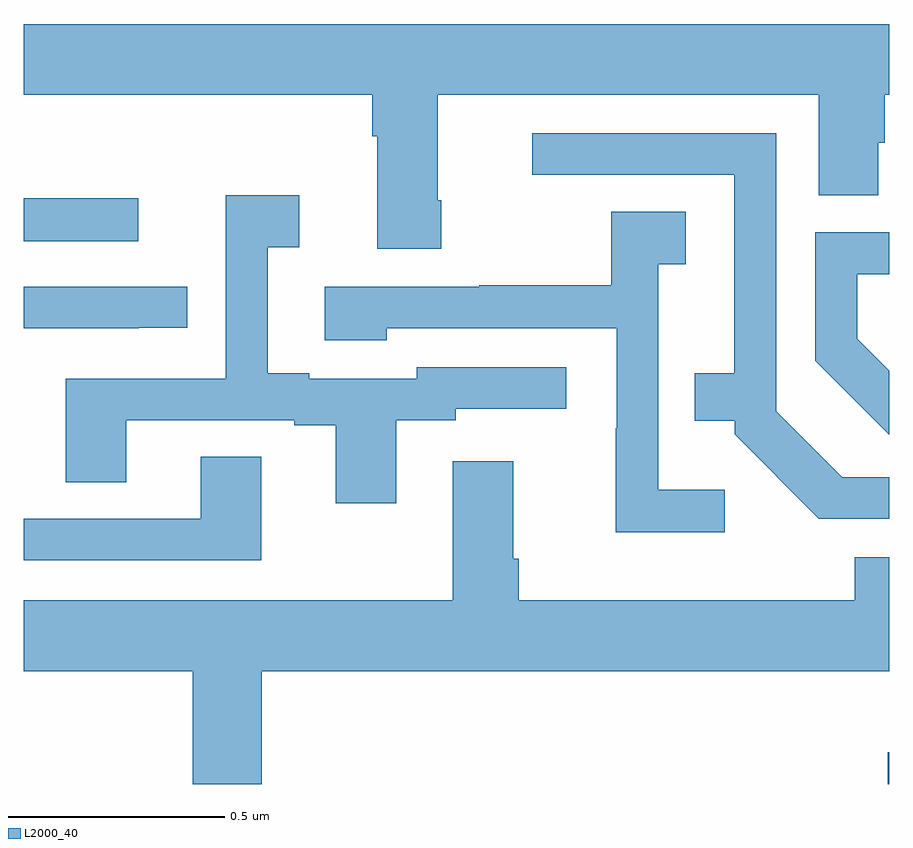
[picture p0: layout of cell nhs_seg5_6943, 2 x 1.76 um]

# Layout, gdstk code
import gdstk
lib = gdstk.Library(unit=1e-6, precision=1e-09)
def R(c, l, rs):  # rectangles x0, y0, x1, y1
    for r in rs: c.add(gdstk.rectangle(r[:2], r[2:], *l))
def P(c, l, *ps):  # polygons
    for p in ps: c.add(gdstk.Polygon(p, *l))
L2000_40 = (2000, 40)

nhs_seg5_6943 = lib.new_cell('nhs_seg5_6943')
R(nhs_seg5_6943, L2000_40, [(203.997,889.799,204,889.872), (202,891.054,202.264,891.153)])
P(nhs_seg5_6943, L2000_40, [(202.965,891.148),(202.957,891.148),(202.957,891.392),(203.837,891.392),(203.837,891.16),(203.975,891.16),(203.975,891.282),(203.99,891.282),(203.99,891.392),(204,891.392),(204,891.556),(202,891.556),(202,891.392),(202.805,891.392),(202.805,891.296),(202.817,891.296),(202.817,891.036),(202.965,891.036)],
  [(204,890.508),(203.892,890.508),(203.739,890.661),(203.739,891.303),(203.175,891.303),(203.175,891.207),(203.642,891.207),(203.642,890.749),(203.551,890.749),(203.551,890.639),(203.643,890.639),(203.643,890.607),(203.838,890.412),(204,890.412)],
  [(202.861,890.64),(202.998,890.64),(202.998,890.667),(203.254,890.667),(203.254,890.763),(202.908,890.763),(202.908,890.736),(202.66,890.736),(202.66,890.749),(202.564,890.749),(202.564,891.04),(202.636,891.04),(202.636,891.16),(202.467,891.16),(202.467,890.736),(202.097,890.736),(202.097,890.497),(202.237,890.497),(202.237,890.64),(202.625,890.64),(202.625,890.628),(202.721,890.628),(202.721,890.448),(202.861,890.448)],
  [(203.62,890.479),(203.466,890.479),(203.466,891.001),(203.53,891.001),(203.53,891.122),(203.358,891.122),(203.358,890.952),(203.053,890.952),(203.053,890.949),(202.695,890.949),(202.695,890.825),(202.839,890.825),(202.839,890.853),(203.37,890.853),(203.37,890.621),(203.368,890.621),(203.368,890.381),(203.62,890.381)],
  [(204,890.754),(203.926,890.828),(203.926,890.978),(204,890.978),(204,891.075),(203.829,891.075),(203.829,890.777),(204,890.606)],
  [(202.265,890.854),(202.378,890.854),(202.378,890.949),(202,890.949),(202,890.853),(202.265,890.853)],
  [(202.549,890.555),(202.409,890.555),(202.409,890.412),(202,890.412),(202,890.316),(202.549,890.316)],
  [(202.55,890.06),(204,890.06),(204,890.323),(203.921,890.323),(203.921,890.224),(203.144,890.224),(203.144,890.32),(203.131,890.32),(203.131,890.545),(202.991,890.545),(202.991,890.224),(202,890.224),(202,890.06),(202.39,890.06),(202.39,889.799),(202.55,889.799)])

lib.write_gds('nhs_seg5_6943.gds')
